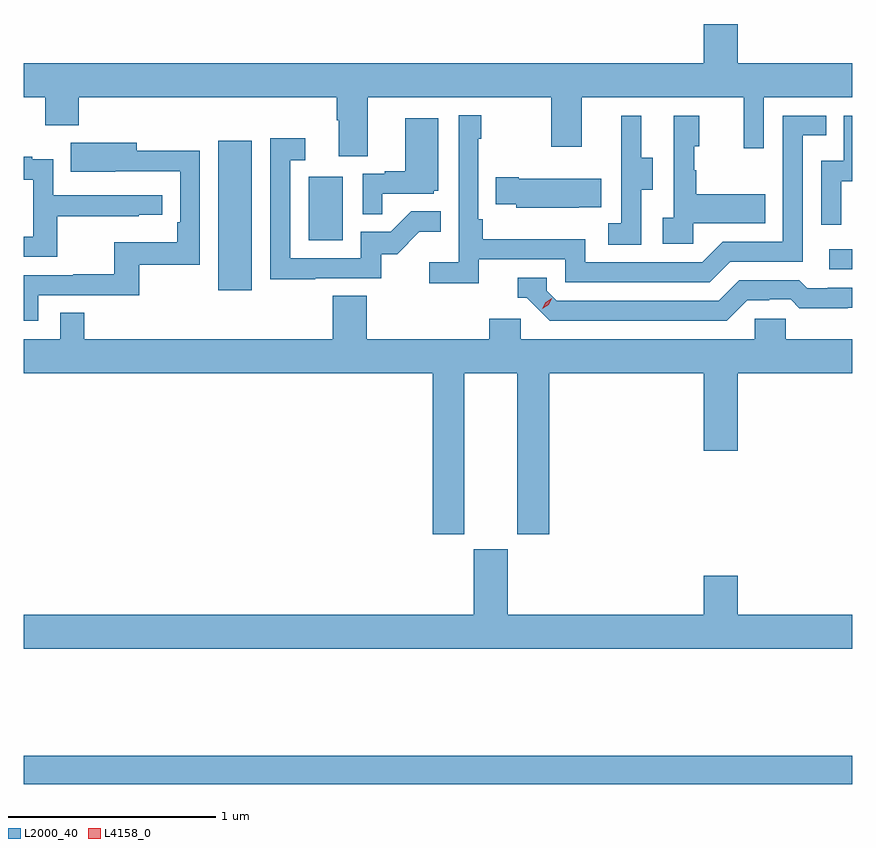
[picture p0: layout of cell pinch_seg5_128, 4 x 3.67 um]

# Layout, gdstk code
import gdstk
lib = gdstk.Library(unit=1e-6, precision=1e-09)
def R(c, l, rs):  # rectangles x0, y0, x1, y1
    for r in rs: c.add(gdstk.rectangle(r[:2], r[2:], *l))
def P(c, l, *ps):  # polygons
    for p in ps: c.add(gdstk.Polygon(p, *l))
L2000_40 = (2000, 40)
L4158_0 = (4158, 0)

pinch_seg5_128 = lib.new_cell('pinch_seg5_128')
R(pinch_seg5_128, L2000_40, [(1060.825,885.412,1064.825,885.548), (1061.765,887.796,1061.926,888.517), (1064.715,887.898,1064.825,887.994), (1062.2,888.036,1062.364,888.343)])
P(pinch_seg5_128, L2000_40, [(1062.487,888.728),(1063.372,888.728),(1063.372,888.489),(1063.519,888.489),(1063.519,888.728),(1064.3,888.728),(1064.3,888.48),(1064.397,888.48),(1064.397,888.728),(1064.825,888.728),(1064.825,888.892),(1064.272,888.892),(1064.272,889.081),(1064.108,889.081),(1064.108,888.892),(1060.825,888.892),(1060.825,888.728),(1060.93,888.728),(1060.93,888.593),(1061.09,888.593),(1061.09,888.728),(1062.335,888.728),(1062.335,888.616),(1062.347,888.616),(1062.347,888.442),(1062.487,888.442)],
  [(1063.022,887.946),(1063.44,887.946),(1063.44,887.835),(1064.137,887.835),(1064.236,887.934),(1064.586,887.934),(1064.586,888.543),(1064.699,888.543),(1064.699,888.639),(1064.49,888.639),(1064.49,888.03),(1064.199,888.03),(1064.1,887.931),(1063.536,887.931),(1063.536,888.043),(1063.04,888.043),(1063.04,888.139),(1063.02,888.139),(1063.02,888.527),(1063.033,888.527),(1063.033,888.64),(1062.924,888.64),(1062.924,887.932),(1062.783,887.932),(1062.783,887.83),(1063.022,887.83)],
  [(1064.772,888.323),(1064.825,888.323),(1064.825,888.639),(1064.784,888.639),(1064.784,888.42),(1064.676,888.42),(1064.676,888.111),(1064.772,888.111)],
  [(1063.806,888.28),(1063.861,888.28),(1063.861,888.435),(1063.807,888.435),(1063.807,888.637),(1063.709,888.637),(1063.709,888.423),(1063.71,888.423),(1063.71,888.119),(1063.647,888.119),(1063.647,888.016),(1063.806,888.016)],
  [(1064.058,888.119),(1064.405,888.119),(1064.405,888.259),(1064.071,888.259),(1064.071,888.374),(1064.061,888.374),(1064.061,888.492),(1064.086,888.492),(1064.086,888.637),(1063.962,888.637),(1063.962,888.146),(1063.911,888.146),(1063.911,888.021),(1064.058,888.021)],
  [(1062.557,888.261),(1062.804,888.261),(1062.804,888.276),(1062.826,888.276),(1062.826,888.625),(1062.668,888.625),(1062.668,888.37),(1062.569,888.37),(1062.569,888.357),(1062.462,888.357),(1062.462,888.163),(1062.557,888.163)],
  [(1062.233,887.853),(1062.552,887.853),(1062.552,887.97),(1062.628,887.97),(1062.735,888.077),(1062.839,888.077),(1062.839,888.176),(1062.695,888.176),(1062.597,888.078),(1062.453,888.078),(1062.453,887.949),(1062.111,887.949),(1062.111,888.423),(1062.184,888.423),(1062.184,888.529),(1062.015,888.529),(1062.015,887.848),(1062.233,887.848)],
  [(1060.896,887.772),(1061.383,887.772),(1061.383,887.919),(1061.676,887.919),(1061.676,888.47),(1061.371,888.47),(1061.371,888.508),(1061.053,888.508),(1061.053,888.368),(1061.267,888.368),(1061.267,888.369),(1061.58,888.369),(1061.58,888.124),(1061.567,888.124),(1061.567,888.028),(1061.262,888.028),(1061.262,887.873),(1061.065,887.873),(1061.065,887.868),(1060.825,887.868),(1060.825,887.649),(1060.896,887.649)],
  [(1060.988,888.154),(1061.381,888.154),(1061.381,888.159),(1061.494,888.159),(1061.494,888.255),(1060.968,888.255),(1060.968,888.427),(1060.865,888.427),(1060.865,888.439),(1060.825,888.439),(1060.825,888.33),(1060.872,888.33),(1060.872,888.054),(1060.825,888.054),(1060.825,887.958),(1060.988,887.958)],
  [(1063.505,888.197),(1063.613,888.197),(1063.613,888.334),(1063.216,888.334),(1063.216,888.342),(1063.105,888.342),(1063.105,888.212),(1063.203,888.212),(1063.203,888.194),(1063.505,888.194)],
  [(1064.317,887.748),(1064.424,887.748),(1064.424,887.751),(1064.527,887.751),(1064.569,887.709),(1064.802,887.709),(1064.802,887.711),(1064.825,887.711),(1064.825,887.808),(1064.707,887.808),(1064.707,887.805),(1064.608,887.805),(1064.569,887.844),(1064.28,887.844),(1064.181,887.745),(1063.398,887.745),(1063.35,887.793),(1063.35,887.856),(1063.211,887.856),(1063.211,887.76),(1063.254,887.76),(1063.365,887.649),(1064.218,887.649)],
  [(1062.952,887.396),(1063.208,887.396),(1063.208,886.617),(1063.361,886.617),(1063.361,887.396),(1064.108,887.396),(1064.108,887.022),(1064.272,887.022),(1064.272,887.396),(1064.825,887.396),(1064.825,887.56),(1064.505,887.56),(1064.505,887.658),(1064.355,887.658),(1064.355,887.56),(1063.224,887.56),(1063.224,887.658),(1063.073,887.658),(1063.073,887.56),(1062.482,887.56),(1062.482,887.768),(1062.317,887.768),(1062.317,887.56),(1061.117,887.56),(1061.117,887.687),(1061.001,887.687),(1061.001,887.56),(1060.825,887.56),(1060.825,887.396),(1062.8,887.396),(1062.8,886.617),(1062.952,886.617)],
  [(1064.825,886.228),(1064.272,886.228),(1064.272,886.417),(1064.108,886.417),(1064.108,886.228),(1063.162,886.228),(1063.162,886.545),(1062.998,886.545),(1062.998,886.228),(1060.825,886.228),(1060.825,886.064),(1064.825,886.064)])
P(pinch_seg5_128, L4158_0, [(1063.328,887.706),(1063.328,887.706),(1063.344,887.738),(1063.375,887.757),(1063.375,887.757),(1063.375,887.757),(1063.359,887.725),(1063.328,887.706)])

lib.write_gds('pinch_seg5_128.gds')
